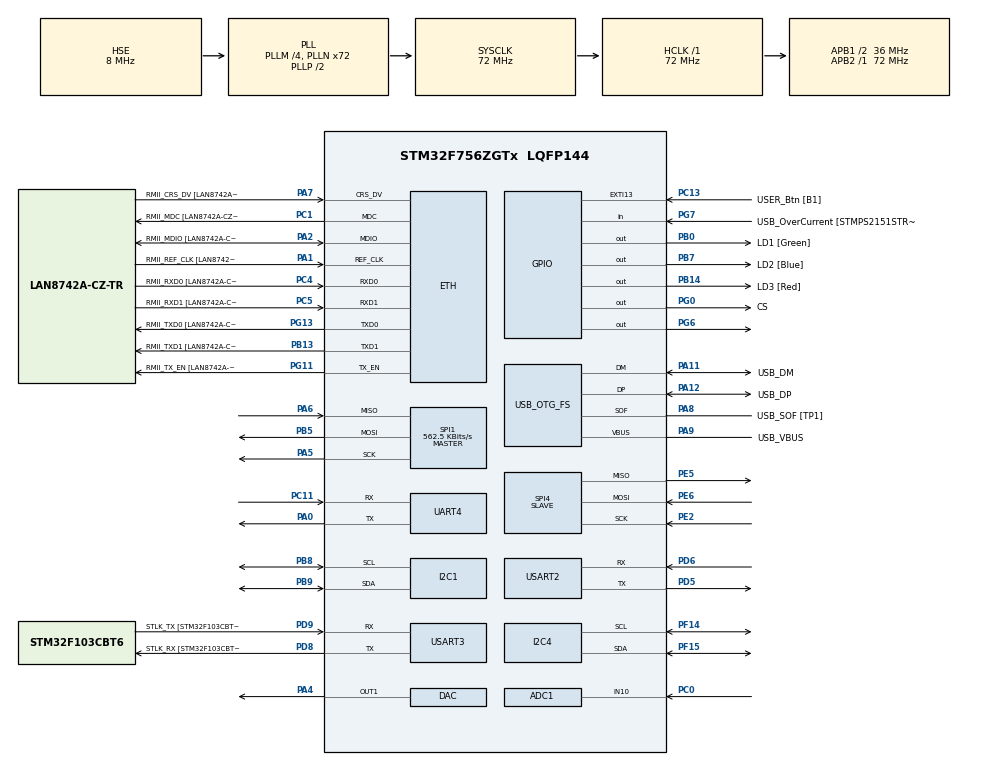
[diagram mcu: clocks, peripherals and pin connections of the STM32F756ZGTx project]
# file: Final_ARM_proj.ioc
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ADC1.Channel-0\#ChannelRegularConversion=ADC_CHANNEL_10
ADC1.NbrOfConversionFlag=1
ADC1.Rank-0\#ChannelRegularConversion=1
ADC1.Resolution=ADC_RESOLUTION_8B
ADC1.SamplingTime-0\#ChannelRegularConversion=ADC_SAMPLETIME_3CYCLES
ADC1.ScanConvMode=ADC_SCAN_ENABLE
ADC1.master=1
CORTEX_M7.CPU_DCache=Disabled
CORTEX_M7.CPU_ICache=Disabled
CORTEX_M7.MPU_Control=__NULL
CORTEX_M7.PREFETCH_ENABLE=0
Dma.I2C1_RX.1.Direction=DMA_PERIPH_TO_MEMORY
Dma.I2C1_RX.1.FIFOMode=DMA_FIFOMODE_DISABLE
Dma.I2C1_RX.1.Instance=DMA1_Stream0
Dma.I2C1_RX.1.MemDataAlignment=DMA_MDATAALIGN_BYTE
Dma.I2C1_RX.1.MemInc=DMA_MINC_ENABLE
Dma.I2C1_RX.1.Mode=DMA_NORMAL
Dma.I2C1_RX.1.PeriphDataAlignment=DMA_PDATAALIGN_BYTE
Dma.I2C1_RX.1.PeriphInc=DMA_PINC_DISABLE
Dma.I2C1_RX.1.Priority=DMA_PRIORITY_LOW
Dma.I2C4_TX.0.Direction=DMA_MEMORY_TO_PERIPH
Dma.I2C4_TX.0.FIFOMode=DMA_FIFOMODE_DISABLE
Dma.I2C4_TX.0.Instance=DMA1_Stream5
Dma.I2C4_TX.0.MemDataAlignment=DMA_MDATAALIGN_BYTE
Dma.I2C4_TX.0.MemInc=DMA_MINC_ENABLE
Dma.I2C4_TX.0.Mode=DMA_NORMAL
Dma.I2C4_TX.0.PeriphDataAlignment=DMA_PDATAALIGN_BYTE
Dma.I2C4_TX.0.PeriphInc=DMA_PINC_DISABLE
Dma.I2C4_TX.0.Priority=DMA_PRIORITY_LOW
Dma.Request0=I2C4_TX
Dma.Request1=I2C1_RX
Dma.Request2=UART4_RX
Dma.Request3=USART2_TX
Dma.Request4=SPI1_RX
Dma.Request5=SPI1_TX
Dma.Request6=SPI4_RX
Dma.Request7=SPI4_TX
Dma.SPI1_RX.4.Direction=DMA_PERIPH_TO_MEMORY
Dma.SPI1_RX.4.FIFOMode=DMA_FIFOMODE_DISABLE
Dma.SPI1_RX.4.Instance=DMA2_Stream2
Dma.SPI1_RX.4.MemDataAlignment=DMA_MDATAALIGN_BYTE
Dma.SPI1_RX.4.MemInc=DMA_MINC_ENABLE
Dma.SPI1_RX.4.Mode=DMA_NORMAL
Dma.SPI1_RX.4.PeriphDataAlignment=DMA_PDATAALIGN_BYTE
Dma.SPI1_RX.4.PeriphInc=DMA_PINC_DISABLE
Dma.SPI1_RX.4.Priority=DMA_PRIORITY_LOW
Dma.SPI1_TX.5.Direction=DMA_MEMORY_TO_PERIPH
Dma.SPI1_TX.5.FIFOMode=DMA_FIFOMODE_DISABLE
Dma.SPI1_TX.5.Instance=DMA2_Stream3
Dma.SPI1_TX.5.MemDataAlignment=DMA_MDATAALIGN_BYTE
Dma.SPI1_TX.5.MemInc=DMA_MINC_ENABLE
Dma.SPI1_TX.5.Mode=DMA_NORMAL
Dma.SPI1_TX.5.PeriphDataAlignment=DMA_PDATAALIGN_BYTE
Dma.SPI1_TX.5.PeriphInc=DMA_PINC_DISABLE
Dma.SPI1_TX.5.Priority=DMA_PRIORITY_LOW
Dma.SPI4_RX.6.Direction=DMA_PERIPH_TO_MEMORY
Dma.SPI4_RX.6.FIFOMode=DMA_FIFOMODE_DISABLE
Dma.SPI4_RX.6.Instance=DMA2_Stream0
Dma.SPI4_RX.6.MemDataAlignment=DMA_MDATAALIGN_BYTE
Dma.SPI4_RX.6.MemInc=DMA_MINC_ENABLE
Dma.SPI4_RX.6.Mode=DMA_NORMAL
Dma.SPI4_RX.6.PeriphDataAlignment=DMA_PDATAALIGN_BYTE
Dma.SPI4_RX.6.PeriphInc=DMA_PINC_DISABLE
Dma.SPI4_RX.6.Priority=DMA_PRIORITY_LOW
Dma.SPI4_TX.7.Direction=DMA_MEMORY_TO_PERIPH
Dma.SPI4_TX.7.FIFOMode=DMA_FIFOMODE_DISABLE
Dma.SPI4_TX.7.Instance=DMA2_Stream1
Dma.SPI4_TX.7.MemDataAlignment=DMA_MDATAALIGN_BYTE
Dma.SPI4_TX.7.MemInc=DMA_MINC_ENABLE
Dma.SPI4_TX.7.Mode=DMA_NORMAL
Dma.SPI4_TX.7.PeriphDataAlignment=DMA_PDATAALIGN_BYTE
Dma.SPI4_TX.7.PeriphInc=DMA_PINC_DISABLE
Dma.SPI4_TX.7.Priority=DMA_PRIORITY_LOW
Dma.UART4_RX.2.Direction=DMA_PERIPH_TO_MEMORY
Dma.UART4_RX.2.FIFOMode=DMA_FIFOMODE_DISABLE
Dma.UART4_RX.2.Instance=DMA1_Stream2
Dma.UART4_RX.2.MemDataAlignment=DMA_MDATAALIGN_BYTE
Dma.UART4_RX.2.MemInc=DMA_MINC_ENABLE
Dma.UART4_RX.2.Mode=DMA_NORMAL
Dma.UART4_RX.2.PeriphDataAlignment=DMA_PDATAALIGN_BYTE
Dma.UART4_RX.2.PeriphInc=DMA_PINC_DISABLE
Dma.UART4_RX.2.Priority=DMA_PRIORITY_LOW
Dma.USART2_TX.3.Direction=DMA_MEMORY_TO_PERIPH
Dma.USART2_TX.3.FIFOMode=DMA_FIFOMODE_DISABLE
Dma.USART2_TX.3.Instance=DMA1_Stream6
Dma.USART2_TX.3.MemDataAlignment=DMA_MDATAALIGN_BYTE
Dma.USART2_TX.3.MemInc=DMA_MINC_ENABLE
Dma.USART2_TX.3.Mode=DMA_NORMAL
Dma.USART2_TX.3.PeriphDataAlignment=DMA_PDATAALIGN_BYTE
Dma.USART2_TX.3.PeriphInc=DMA_PINC_DISABLE
Dma.USART2_TX.3.Priority=DMA_PRIORITY_LOW
ETH.MediaInterface=HAL_ETH_RMII_MODE
ETH.PHY_Name=LAN8742A_PHY_ADDRESS
ETH.PHY_Value=0
ETH.PhyAddress=0
FREERTOS.BinarySemaphores01=UartRx,Dynamic,NULL,Depleted;UartTx,Dynamic,NULL,Depleted;I2cRx,Dynamic,NULL,Depleted;I2cTx,Dynamic,NULL,Depleted;SpiRx,Dynamic,NULL,Depleted;AdcSem,Dynamic,NULL,Depleted;TimSem,Dynamic,NULL,Depleted;SpiTx,Dynamic,NULL,Depleted;SpiSlaveRx,Dynamic,NULL,Depleted
FREERTOS.Queues01=testsQ,16,4,1,Dynamic,NULL,NULL
FREERTOS.Tasks01=defaultTask,24,1024,lwip_initiation,Default,NULL,Dynamic,NULL,NULL;blink_task,8,1024,blinking_blue,Default,NULL,Dynamic,NULL,NULL;udp_task,8,1024,udp_function,Default,NULL,Dynamic,NULL,NULL;performing_task,40,2048,perform_tests,Default,NULL,Dynamic,NULL,NULL
FREERTOS.configMINIMAL_STACK_SIZE=256
FREERTOS.configTOTAL_HEAP_SIZE=102400
FREERTOS.configUSE_NEWLIB_REENTRANT=1
I2C1.GeneralCallMode=I2C_GENERALCALL_DISABLE
I2C1.OwnAddress=0x78
I2C1.Timing=0x00808CD2
I2C4.Timing=0x00808CD2
LWIP.BSP.number=1
LWIP.DHCP_DEBUG=LWIP_DBG_ON
LWIP.ETH_RX_BUFFER_CNT=24
LWIP.IP_ADDRESS=192.168.001.168
LWIP.LWIP_DHCP=0
LWIP.LWIP_IPV6=0
LWIP.MEM_SIZE=10*1024
LWIP.NETIF_DEBUG=LWIP_DBG_ON
LWIP.NETMASK_ADDRESS=255.255.255.000
LWIP.Version=v2.1.2_Cube
LWIP0.BSP.STBoard=false
LWIP0.BSP.api=BSP_COMPONENT_DRIVER
LWIP0.BSP.component=LAN8742
LWIP0.BSP.instance=LAN8742
LWIP0.BSP.name=Driver_PHY
LWIP0.BSP.semaphore=S_LAN8742
LWIP0.BSP.solution=LAN8742
Mcu.Family=STM32F7
Mcu.Name=STM32F756ZGTx
Mcu.Package=LQFP144
NVIC.ADC_IRQn=true\:5\:0\:false\:false\:true\:true\:true\:true\:true
NVIC.DMA1_Stream0_IRQn=true\:6\:0\:true\:false\:true\:true\:false\:true\:true
NVIC.DMA1_Stream2_IRQn=true\:6\:0\:true\:false\:true\:true\:false\:true\:true
NVIC.DMA1_Stream5_IRQn=true\:6\:0\:true\:false\:true\:true\:false\:true\:true
NVIC.DMA1_Stream6_IRQn=true\:6\:0\:true\:false\:true\:true\:false\:true\:true
NVIC.DMA2_Stream0_IRQn=true\:5\:0\:false\:false\:true\:true\:false\:true\:true
NVIC.DMA2_Stream1_IRQn=true\:5\:0\:false\:false\:true\:true\:false\:true\:true
NVIC.DMA2_Stream2_IRQn=true\:5\:0\:false\:false\:true\:false\:false\:true\:true
NVIC.DMA2_Stream3_IRQn=true\:5\:0\:false\:false\:true\:true\:false\:true\:true
NVIC.ETH_IRQn=true\:5\:0\:false\:false\:true\:true\:true\:true\:true
NVIC.ETH_WKUP_IRQn=true\:5\:0\:false\:false\:true\:true\:true\:true\:true
NVIC.EXTI15_10_IRQn=true\:5\:0\:false\:false\:true\:true\:true\:true\:true
NVIC.FPU_IRQn=true\:5\:0\:false\:false\:true\:true\:true\:false\:true
NVIC.I2C1_ER_IRQn=true\:5\:0\:false\:false\:true\:true\:true\:true\:true
NVIC.I2C1_EV_IRQn=true\:5\:0\:false\:false\:true\:true\:true\:true\:true
NVIC.I2C4_ER_IRQn=true\:5\:0\:false\:false\:true\:true\:true\:true\:true
NVIC.I2C4_EV_IRQn=true\:5\:0\:false\:false\:true\:true\:true\:true\:true
NVIC.PriorityGroup=NVIC_PRIORITYGROUP_4
NVIC.RCC_IRQn=true\:5\:0\:false\:false\:true\:true\:true\:false\:true
NVIC.SPI1_IRQn=true\:6\:0\:true\:false\:true\:true\:true\:true\:true
NVIC.SPI4_IRQn=true\:5\:0\:false\:false\:true\:true\:true\:true\:true
NVIC.TIM6_DAC_IRQn=true\:5\:0\:false\:false\:true\:false\:false\:true\:true
NVIC.TIM7_IRQn=true\:5\:0\:false\:false\:true\:true\:true\:true\:true
NVIC.TimeBase=TIM6_DAC_IRQn
NVIC.TimeBaseIP=TIM6
NVIC.UART4_IRQn=true\:6\:0\:true\:false\:true\:true\:true\:true\:true
NVIC.USART2_IRQn=true\:6\:0\:true\:false\:true\:true\:true\:true\:true
NVIC.USART3_IRQn=true\:5\:0\:false\:false\:true\:true\:true\:true\:true
PA0/WKUP.Mode=Asynchronous
PA0/WKUP.Signal=UART4_TX
PA1.GPIO_Label=RMII_REF_CLK [LAN8742A-CZ-TR_REFCLK0]
PA1.Mode=RMII
PA1.Signal=ETH_REF_CLK
PA10.GPIO_Label=USB_ID
PA10.Signal=USB_OTG_FS_ID
PA11.GPIO_Label=USB_DM
PA11.Mode=Device_Only
PA11.Signal=USB_OTG_FS_DM
PA12.GPIO_Label=USB_DP
PA12.Mode=Device_Only
PA12.Signal=USB_OTG_FS_DP
PA13.GPIO_Label=TMS
PA13.Mode=Serial_Wire
PA13.Signal=SYS_JTMS-SWDIO
PA14.GPIO_Label=TCK
PA14.Mode=Serial_Wire
PA14.Signal=SYS_JTCK-SWCLK
PA2.GPIO_Label=RMII_MDIO [LAN8742A-CZ-TR_MDIO]
PA2.Mode=RMII
PA2.Signal=ETH_MDIO
PA4.Signal=COMP_DAC1_group
PA5.Mode=Full_Duplex_Master
PA5.Signal=SPI1_SCK
PA6.Mode=Full_Duplex_Master
PA6.Signal=SPI1_MISO
PA7.GPIO_Label=RMII_CRS_DV [LAN8742A-CZ-TR_CRS_DV]
PA7.Mode=RMII
PA7.Signal=ETH_CRS_DV
PA8.GPIO_Label=USB_SOF [TP1]
PA8.Mode=Activate_SOF_FS
PA8.Signal=USB_OTG_FS_SOF
PA9.GPIO_Label=USB_VBUS
PA9.Mode=Activate_VBUS
PA9.Signal=USB_OTG_FS_VBUS
PB0.GPIO_Label=LD1 [Green]
PB0.Signal=GPIO_Output
PB13.GPIO_Label=RMII_TXD1 [LAN8742A-CZ-TR_TXD1]
PB13.Mode=RMII
PB13.Signal=ETH_TXD1
PB14.GPIO_Label=LD3 [Red]
PB14.Signal=GPIO_Output
PB3.GPIO_Label=SW0
PB3.Signal=SYS_JTDO-SWO
PB5.Mode=Full_Duplex_Master
PB5.Signal=SPI1_MOSI
PB7.GPIO_Label=LD2 [Blue]
PB7.Signal=GPIO_Output
PB8.GPIO_Mode=GPIO_MODE_AF_OD
PB8.GPIO_Pu=GPIO_PULLUP
PB8.Mode=I2C
PB8.Signal=I2C1_SCL
PB9.GPIO_Pu=GPIO_PULLUP
PB9.Mode=I2C
PB9.Signal=I2C1_SDA
PC0.Signal=ADCx_IN10
PC1.GPIO_Label=RMII_MDC [LAN8742A-CZ-TR_MDC]
PC1.Mode=RMII
PC1.Signal=ETH_MDC
PC11.Mode=Asynchronous
PC11.Signal=UART4_RX
PC13.GPIO_Label=USER_Btn [B1]
PC13.Signal=GPXTI13
PC14/OSC32_IN.Mode=LSE-External-Oscillator
PC14/OSC32_IN.Signal=RCC_OSC32_IN
PC15/OSC32_OUT.Mode=LSE-External-Oscillator
PC15/OSC32_OUT.Signal=RCC_OSC32_OUT
PC4.GPIO_Label=RMII_RXD0 [LAN8742A-CZ-TR_RXD0]
PC4.Mode=RMII
PC4.Signal=ETH_RXD0
PC5.GPIO_Label=RMII_RXD1 [LAN8742A-CZ-TR_RXD1]
PC5.Mode=RMII
PC5.Signal=ETH_RXD1
PD5.Mode=Asynchronous
PD5.Signal=USART2_TX
PD6.Mode=Asynchronous
PD6.Signal=USART2_RX
PD8.GPIO_Label=STLK_RX [STM32F103CBT6_PA3]
PD8.Mode=Asynchronous
PD8.Signal=USART3_TX
PD9.GPIO_Label=STLK_TX [STM32F103CBT6_PA2]
PD9.Mode=Asynchronous
PD9.Signal=USART3_RX
PE2.Mode=Full_Duplex_Slave
PE2.Signal=SPI4_SCK
PE5.Mode=Full_Duplex_Slave
PE5.Signal=SPI4_MISO
PE6.Mode=Full_Duplex_Slave
PE6.Signal=SPI4_MOSI
PF14.GPIO_Pu=GPIO_PULLUP
PF14.Mode=I2C
PF14.Signal=I2C4_SCL
PF15.GPIO_Pu=GPIO_PULLUP
PF15.Mode=I2C
PF15.Signal=I2C4_SDA
PG0.GPIO_Label=CS
PG0.PinState=GPIO_PIN_SET
PG0.Signal=GPIO_Output
PG11.GPIO_Label=RMII_TX_EN [LAN8742A-CZ-TR_TXEN]
PG11.Mode=RMII
PG11.Signal=ETH_TX_EN
PG13.GPIO_Label=RMII_TXD0 [LAN8742A-CZ-TR_TXD0]
PG13.Mode=RMII
PG13.Signal=ETH_TXD0
PG6.Signal=GPIO_Output
PG7.GPIO_Label=USB_OverCurrent [STMPS2151STR_FAULT]
PG7.Signal=GPIO_Input
PH0/OSC_IN.GPIO_Label=MCO [STM32F103CBT6_PA8]
PH0/OSC_IN.Mode=HSE-External-Clock-Source
PH0/OSC_IN.Signal=RCC_OSC_IN
PH1/OSC_OUT.Mode=HSE-External-Clock-Source
PH1/OSC_OUT.Signal=RCC_OSC_OUT
ProjectManager.HeapSize=0x200
ProjectManager.StackSize=0x400
ProjectManager.TargetToolchain=STM32CubeIDE
RCC.48MHZClocksFreq_Value=24000000
RCC.AHBFreq_Value=72000000
RCC.APB1CLKDivider=RCC_HCLK_DIV2
RCC.APB1Freq_Value=36000000
RCC.APB1TimFreq_Value=72000000
RCC.APB2Freq_Value=72000000
RCC.APB2TimFreq_Value=72000000
RCC.CortexFreq_Value=72000000
RCC.HCLKFreq_Value=72000000
RCC.HSE_VALUE=8000000
RCC.HSI_VALUE=16000000
RCC.PLLM=4
RCC.PLLMUL=RCC_PLL_MUL9
RCC.PLLN=72
RCC.PLLQ=3
RCC.PRESCALERUSB=RCC_USBCLKSOURCE_PLL_DIV1_5
RCC.SYSCLKFreq_VALUE=72000000
RCC.SYSCLKSource=RCC_SYSCLKSOURCE_PLLCLK
RCC.SYSCLKSourceVirtual=RCC_SYSCLKSOURCE_PLLCLK
RCC.UART4CLockSelection=RCC_UART4CLKSOURCE_SYSCLK
RCC.USART2CLockSelection=RCC_USART2CLKSOURCE_SYSCLK
RCC.USBFreq_Value=48000000
RCC.VCOOutputFreq_Value=144000000
SH.ADCx_IN10.0=ADC1_IN10,IN10
SH.COMP_DAC1_group.0=DAC_OUT1,DAC_OUT1
SPI1.BaudRatePrescaler=SPI_BAUDRATEPRESCALER_128
SPI1.CLKPhase=SPI_PHASE_1EDGE
SPI1.CLKPolarity=SPI_POLARITY_LOW
SPI1.CRCCalculation=SPI_CRCCALCULATION_ENABLE
SPI1.CalculateBaudRate=562.5 KBits/s
SPI1.DataSize=SPI_DATASIZE_8BIT
SPI1.Direction=SPI_DIRECTION_2LINES
SPI1.Mode=SPI_MODE_MASTER
SPI1.VirtualType=VM_MASTER
SPI4.Direction=SPI_DIRECTION_2LINES
SPI4.Mode=SPI_MODE_SLAVE
SPI4.VirtualType=VM_SLAVE
TIM7.Period=100 - 1
TIM7.Prescaler=48000 - 1
USART2.VirtualMode-Asynchronous=VM_ASYNC
USART3.VirtualMode-Asynchronous=VM_ASYNC
USB_OTG_FS.VirtualMode=Device_Only
VP_CRC_VS_CRC.Mode=CRC_Activate
VP_FREERTOS_VS_CMSIS_V2.Mode=CMSIS_V2
VP_LWIP_VS_Enabled.Mode=Enabled
VP_SYS_VS_tim6.Mode=TIM6
VP_TIM7_VS_ClockSourceINT.Mode=Enable_Timer
board=NUCLEO-F756ZG

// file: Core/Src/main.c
/* USER CODE BEGIN Header */
/**
  ******************************************************************************
  * @file           : main.c
  * @brief          : Main program body
  ******************************************************************************
  * @attention
  *
  * Copyright (c) 2025 STMicroelectronics.
  * All rights reserved.
  *
  * This software is licensed under terms that can be found in the LICENSE file
  * in the root directory of this software component.
  * If no LICENSE file comes with this software, it is provided AS-IS.
  *
  *
  ******************************************************************************
  */
/* USER CODE END Header */
#include "main.h"
#include "cmsis_os.h"
#include "lwip.h"

/* USER CODE BEGIN Includes */
#include <stdarg.h>

#include "lwip/udp.h"

#include "FreeRTOS.h"
#include "semphr.h" // For semaphore-specific functions and types like SemaphoreHandle_t

#include "project_header.h"
#include "uarts.h"
#include "i2cs.h"
#include "spis.h"
#include "adcs.h"
#include "timer_test.h"

/* USER CODE END Includes */

/* USER CODE BEGIN PD */
extern struct netif gnetif;

/* USER CODE END PD */

/* USER CODE BEGIN PM */
#define LOCAL_PORT   5005

/* USER CODE END PM */

ADC_HandleTypeDef hadc1;

CRC_HandleTypeDef hcrc;

DAC_HandleTypeDef hdac;

I2C_HandleTypeDef hi2c1;
I2C_HandleTypeDef hi2c4;
DMA_HandleTypeDef hdma_i2c1_rx;
DMA_HandleTypeDef hdma_i2c4_tx;

SPI_HandleTypeDef hspi1;
SPI_HandleTypeDef hspi4;
DMA_HandleTypeDef hdma_spi1_rx;
DMA_HandleTypeDef hdma_spi1_tx;
DMA_HandleTypeDef hdma_spi4_rx;
DMA_HandleTypeDef hdma_spi4_tx;

TIM_HandleTypeDef htim7;

UART_HandleTypeDef huart4;
UART_HandleTypeDef huart2;
UART_HandleTypeDef huart3;
DMA_HandleTypeDef hdma_uart4_rx;
DMA_HandleTypeDef hdma_usart2_tx;

PCD_HandleTypeDef hpcd_USB_OTG_FS;

/* Definitions for defaultTask */
osThreadId_t defaultTaskHandle;
const osThreadAttr_t defaultTask_attributes = {
  .name = "defaultTask",
  .stack_size = 1024 * 4,
  .priority = (osPriority_t) osPriorityNormal,
};
/* Definitions for blink_task */
osThreadId_t blink_taskHandle;
const osThreadAttr_t blink_task_attributes = {
  .name = "blink_task",
  .stack_size = 1024 * 4,
  .priority = (osPriority_t) osPriorityLow,
};
/* Definitions for udp_task */
osThreadId_t udp_taskHandle;
const osThreadAttr_t udp_task_attributes = {
  .name = "udp_task",
  .stack_size = 1024 * 4,
  .priority = (osPriority_t) osPriorityLow,
};
/* Definitions for performing_task */
osThreadId_t performing_taskHandle;
const osThreadAttr_t performing_task_attributes = {
  .name = "performing_task",
  .stack_size = 2048 * 4,
  .priority = (osPriority_t) osPriorityHigh,
};
/* Definitions for testsQ */
osMessageQueueId_t testsQHandle;
const osMessageQueueAttr_t testsQ_attributes = {
  .name = "testsQ"
};
/* Definitions for UartRx */
osSemaphoreId_t UartRxHandle;
const osSemaphoreAttr_t UartRx_attributes = {
  .name = "UartRx"
};
/* Definitions for UartTx */
osSemaphoreId_t UartTxHandle;
const osSemaphoreAttr_t UartTx_attributes = {
  .name = "UartTx"
};
/* Definitions for I2cRx */
osSemaphoreId_t I2cRxHandle;
const osSemaphoreAttr_t I2cRx_attributes = {
  .name = "I2cRx"
};
/* Definitions for I2cTx */
osSemaphoreId_t I2cTxHandle;
const osSemaphoreAttr_t I2cTx_attributes = {
  .name = "I2cTx"
};
/* Definitions for SpiRx */
osSemaphoreId_t SpiRxHandle;
const osSemaphoreAttr_t SpiRx_attributes = {
  .name = "SpiRx"
};
/* Definitions for AdcSem */
osSemaphoreId_t AdcSemHandle;
const osSemaphoreAttr_t AdcSem_attributes = {
  .name = "AdcSem"
};
/* Definitions for TimSem */
osSemaphoreId_t TimSemHandle;
const osSemaphoreAttr_t TimSem_attributes = {
  .name = "TimSem"
};
/* Definitions for SpiTx */
osSemaphoreId_t SpiTxHandle;
const osSemaphoreAttr_t SpiTx_attributes = {
  .name = "SpiTx"
};
/* Definitions for SpiSlaveRx */
osSemaphoreId_t SpiSlaveRxHandle;
const osSemaphoreAttr_t SpiSlaveRx_attributes = {
  .name = "SpiSlaveRx"
};

void SystemClock_Config(void);
static void MX_GPIO_Init(void);
static void MX_DMA_Init(void);
static void MX_I2C1_Init(void);
static void MX_USART3_UART_Init(void);
static void MX_USB_OTG_FS_PCD_Init(void);
static void MX_USART2_UART_Init(void);
static void MX_CRC_Init(void);
static void MX_I2C4_Init(void);
static void MX_SPI1_Init(void);
static void MX_ADC1_Init(void);
static void MX_TIM7_Init(void);
static void MX_UART4_Init(void);
static void MX_DAC_Init(void);
static void MX_SPI4_Init(void);
void lwip_initiation(void *argument);
void blinking_blue(void *argument);
void udp_function(void *argument);
void perform_tests(void *argument);

/* USER CODE BEGIN PFP */

static struct udp_pcb *udp_pcb_handle;
void udp_receive_init(void);
void udp_receive_callback(void *arg, struct udp_pcb *pcb,
                          struct pbuf *p, const ip_addr_t *addr, u16_t port);
int send_response(result_pro_t result);
uint32_t calculate_crc(uint8_t *data, size_t length);

/* USER CODE END PFP */

/* USER CODE BEGIN 0 */

ip_addr_t g_server_addr;
u16_t g_server_port;

/* USER CODE END 0 */

int main(void)
{

  /* MCU Configuration--------------------------------------------------------*/

  /* Reset of all peripherals, Initializes the Flash interface and the Systick. */
  HAL_Init();

  /* Configure the system clock */
  SystemClock_Config();

  /* Initialize all configured peripherals */
  MX_GPIO_Init();
  MX_DMA_Init();
  MX_I2C1_Init();
  MX_USART3_UART_Init();
  MX_USB_OTG_FS_PCD_Init();
  MX_USART2_UART_Init();
  MX_CRC_Init();
  MX_I2C4_Init();
  MX_SPI1_Init();
  MX_ADC1_Init();
  MX_TIM7_Init();
  MX_UART4_Init();
  MX_DAC_Init();
  MX_SPI4_Init();

  /* Init scheduler */
  osKernelInitialize();

  /* Create the semaphores(s) */
  /* creation of UartRx */
  UartRxHandle = osSemaphoreNew(1, 0, &UartRx_attributes);

  /* creation of UartTx */
  UartTxHandle = osSemaphoreNew(1, 0, &UartTx_attributes);

  /* creation of I2cRx */
  I2cRxHandle = osSemaphoreNew(1, 0, &I2cRx_attributes);

  /* creation of I2cTx */
  I2cTxHandle = osSemaphoreNew(1, 0, &I2cTx_attributes);

  /* creation of SpiRx */
  SpiRxHandle = osSemaphoreNew(1, 0, &SpiRx_attributes);

  /* creation of AdcSem */
  AdcSemHandle = osSemaphoreNew(1, 0, &AdcSem_attributes);

  /* creation of TimSem */
  TimSemHandle = osSemaphoreNew(1, 0, &TimSem_attributes);

  /* creation of SpiTx */
  SpiTxHandle = osSemaphoreNew(1, 0, &SpiTx_attributes);

  /* creation of SpiSlaveRx */
  SpiSlaveRxHandle = osSemaphoreNew(1, 0, &SpiSlaveRx_attributes);

  /* Create the queue(s) */
  /* creation of testsQ */
  testsQHandle = osMessageQueueNew (16, 4, &testsQ_attributes);

  /* Create the thread(s) */
  /* creation of defaultTask */
  defaultTaskHandle = osThreadNew(lwip_initiation, NULL, &defaultTask_attributes);

  /* creation of blink_task */
  blink_taskHandle = osThreadNew(blinking_blue, NULL, &blink_task_attributes);

  /* creation of udp_task */
  udp_taskHandle = osThreadNew(udp_function, NULL, &udp_task_attributes);

  /* creation of performing_task */
  performing_taskHandle = osThreadNew(perform_tests, NULL, &performing_task_attributes);

  /* Start scheduler */
  osKernelStart();

  /* We should never get here as control is now taken by the scheduler */

  /* Infinite loop */
  while (1)
  {

  }
}

void SystemClock_Config(void)
{
  RCC_OscInitTypeDef RCC_OscInitStruct = {0};
  RCC_ClkInitTypeDef RCC_ClkInitStruct = {0};

  /** Configure LSE Drive Capability
  */
  HAL_PWR_EnableBkUpAccess();

  /** Configure the main internal regulator output voltage
  */
  __HAL_RCC_PWR_CLK_ENABLE();
  __HAL_PWR_VOLTAGESCALING_CONFIG(PWR_REGULATOR_VOLTAGE_SCALE3);

  /** Initializes the RCC Oscillators according to the specified parameters
  * in the RCC_OscInitTypeDef structure.
  */
  RCC_OscInitStruct.OscillatorType = RCC_OSCILLATORTYPE_HSE;
  RCC_OscInitStruct.HSEState = RCC_HSE_BYPASS;
  RCC_OscInitStruct.PLL.PLLState = RCC_PLL_ON;
  RCC_OscInitStruct.PLL.PLLSource = RCC_PLLSOURCE_HSE;
  RCC_OscInitStruct.PLL.PLLM = 4;
  RCC_OscInitStruct.PLL.PLLN = 72;
  RCC_OscInitStruct.PLL.PLLP = RCC_PLLP_DIV2;
  RCC_OscInitStruct.PLL.PLLQ = 3;
  if (HAL_RCC_OscConfig(&RCC_OscInitStruct) != HAL_OK)
  {
    Error_Handler();
  }

  /** Initializes the CPU, AHB and APB buses clocks
  */
  RCC_ClkInitStruct.ClockType = RCC_CLOCKTYPE_HCLK|RCC_CLOCKTYPE_SYSCLK
                              |RCC_CLOCKTYPE_PCLK1|RCC_CLOCKTYPE_PCLK2;
  RCC_ClkInitStruct.SYSCLKSource = RCC_SYSCLKSOURCE_PLLCLK;
  RCC_ClkInitStruct.AHBCLKDivider = RCC_SYSCLK_DIV1;
  RCC_ClkInitStruct.APB1CLKDivider = RCC_HCLK_DIV2;
  RCC_ClkInitStruct.APB2CLKDivider = RCC_HCLK_DIV1;

  if (HAL_RCC_ClockConfig(&RCC_ClkInitStruct, FLASH_LATENCY_2) != HAL_OK)
  {
    Error_Handler();
  }
}

static void MX_ADC1_Init(void)
{

  ADC_ChannelConfTypeDef sConfig = {0};

  /** Configure the global features of the ADC (Clock, Resolution, Data Alignment and number of conversion)
  */
  hadc1.Instance = ADC1;
  hadc1.Init.ClockPrescaler = ADC_CLOCK_SYNC_PCLK_DIV2;
  hadc1.Init.Resolution = ADC_RESOLUTION_8B;
  hadc1.Init.ScanConvMode = ADC_SCAN_ENABLE;
  hadc1.Init.ContinuousConvMode = DISABLE;
  hadc1.Init.DiscontinuousConvMode = DISABLE;
  hadc1.Init.ExternalTrigConvEdge = ADC_EXTERNALTRIGCONVEDGE_NONE;
  hadc1.Init.ExternalTrigConv = ADC_SOFTWARE_START;
  hadc1.Init.DataAlign = ADC_DATAALIGN_RIGHT;
  hadc1.Init.NbrOfConversion = 1;
  hadc1.Init.DMAContinuousRequests = DISABLE;
  hadc1.Init.EOCSelection = ADC_EOC_SINGLE_CONV;
  if (HAL_ADC_Init(&hadc1) != HAL_OK)
  {
    Error_Handler();
  }

  /** Configure for the selected ADC regular channel its corresponding rank in the sequencer and its sample time.
  */
  sConfig.Channel = ADC_CHANNEL_10;
  sConfig.Rank = ADC_REGULAR_RANK_1;
  sConfig.SamplingTime = ADC_SAMPLETIME_3CYCLES;
  if (HAL_ADC_ConfigChannel(&hadc1, &sConfig) != HAL_OK)
  {
    Error_Handler();
  }

}

static void MX_CRC_Init(void)
{

  hcrc.Instance = CRC;
  hcrc.Init.DefaultPolynomialUse = DEFAULT_POLYNOMIAL_ENABLE;
  hcrc.Init.DefaultInitValueUse = DEFAULT_INIT_VALUE_ENABLE;
  hcrc.Init.InputDataInversionMode = CRC_INPUTDATA_INVERSION_NONE;
  hcrc.Init.OutputDataInversionMode = CRC_OUTPUTDATA_INVERSION_DISABLE;
  hcrc.InputDataFormat = CRC_INPUTDATA_FORMAT_BYTES;
  if (HAL_CRC_Init(&hcrc) != HAL_OK)
  {
    Error_Handler();
  }

}

static void MX_DAC_Init(void)
{

  DAC_ChannelConfTypeDef sConfig = {0};

  /** DAC Initialization
  */
  hdac.Instance = DAC;
  if (HAL_DAC_Init(&hdac) != HAL_OK)
  {
    Error_Handler();
  }

  /** DAC channel OUT1 config
  */
  sConfig.DAC_Trigger = DAC_TRIGGER_NONE;
  sConfig.DAC_OutputBuffer = DAC_OUTPUTBUFFER_ENABLE;
  if (HAL_DAC_ConfigChannel(&hdac, &sConfig, DAC_CHANNEL_1) != HAL_OK)
  {
    Error_Handler();
  }

}

static void MX_I2C1_Init(void)
{

  hi2c1.Instance = I2C1;
  hi2c1.Init.Timing = 0x00808CD2;
  hi2c1.Init.OwnAddress1 = 240;
  hi2c1.Init.AddressingMode = I2C_ADDRESSINGMODE_7BIT;
  hi2c1.Init.DualAddressMode = I2C_DUALADDRESS_DISABLE;
  hi2c1.Init.OwnAddress2 = 0;
  hi2c1.Init.OwnAddress2Masks = I2C_OA2_NOMASK;
  hi2c1.Init.GeneralCallMode = I2C_GENERALCALL_DISABLE;
  hi2c1.Init.NoStretchMode = I2C_NOSTRETCH_DISABLE;
  if (HAL_I2C_Init(&hi2c1) != HAL_OK)
  {
    Error_Handler();
  }

  /** Configure Analogue filter
  */
  if (HAL_I2CEx_ConfigAnalogFilter(&hi2c1, I2C_ANALOGFILTER_ENABLE) != HAL_OK)
  {
    Error_Handler();
  }

  /** Configure Digital filter
  */
  if (HAL_I2CEx_ConfigDigitalFilter(&hi2c1, 0) != HAL_OK)
  {
    Error_Handler();
  }

}

static void MX_I2C4_Init(void)
{

  hi2c4.Instance = I2C4;
  hi2c4.Init.Timing = 0x00808CD2;
  hi2c4.Init.OwnAddress1 = 0;
  hi2c4.Init.AddressingMode = I2C_ADDRESSINGMODE_7BIT;
  hi2c4.Init.DualAddressMode = I2C_DUALADDRESS_DISABLE;
  hi2c4.Init.OwnAddress2 = 0;
  hi2c4.Init.OwnAddress2Masks = I2C_OA2_NOMASK;
  hi2c4.Init.GeneralCallMode = I2C_GENERALCALL_DISABLE;
  hi2c4.Init.NoStretchMode = I2C_NOSTRETCH_DISABLE;
  if (HAL_I2C_Init(&hi2c4) != HAL_OK)
  {
    Error_Handler();
  }

  /** Configure Analogue filter
  */
  if (HAL_I2CEx_ConfigAnalogFilter(&hi2c4, I2C_ANALOGFILTER_ENABLE) != HAL_OK)
  {
    Error_Handler();
  }

  /** Configure Digital filter
  */
  if (HAL_I2CEx_ConfigDigitalFilter(&hi2c4, 0) != HAL_OK)
  {
    Error_Handler();
  }

}

static void MX_SPI1_Init(void)
{

  /* SPI1 parameter configuration*/
  hspi1.Instance = SPI1;
  hspi1.Init.Mode = SPI_MODE_MASTER;
  hspi1.Init.Direction = SPI_DIRECTION_2LINES;
  hspi1.Init.DataSize = SPI_DATASIZE_8BIT;
  hspi1.Init.CLKPolarity = SPI_POLARITY_LOW;
  hspi1.Init.CLKPhase = SPI_PHASE_1EDGE;
  hspi1.Init.NSS = SPI_NSS_SOFT;
  hspi1.Init.BaudRatePrescaler = SPI_BAUDRATEPRESCALER_128;
  hspi1.Init.FirstBit = SPI_FIRSTBIT_MSB;
  hspi1.Init.TIMode = SPI_TIMODE_DISABLE;
  hspi1.Init.CRCCalculation = SPI_CRCCALCULATION_ENABLE;
  hspi1.Init.CRCPolynomial = 7;
  hspi1.Init.CRCLength = SPI_CRC_LENGTH_DATASIZE;
  hspi1.Init.NSSPMode = SPI_NSS_PULSE_ENABLE;
  if (HAL_SPI_Init(&hspi1) != HAL_OK)
  {
    Error_Handler();
  }

}

static void MX_SPI4_Init(void)
{

  /* SPI4 parameter configuration*/
  hspi4.Instance = SPI4;
  hspi4.Init.Mode = SPI_MODE_SLAVE;
  hspi4.Init.Direction = SPI_DIRECTION_2LINES;
  hspi4.Init.DataSize = SPI_DATASIZE_4BIT;
  hspi4.Init.CLKPolarity = SPI_POLARITY_LOW;
  hspi4.Init.CLKPhase = SPI_PHASE_1EDGE;
  hspi4.Init.NSS = SPI_NSS_SOFT;
  hspi4.Init.FirstBit = SPI_FIRSTBIT_MSB;
  hspi4.Init.TIMode = SPI_TIMODE_DISABLE;
  hspi4.Init.CRCCalculation = SPI_CRCCALCULATION_DISABLE;
  hspi4.Init.CRCPolynomial = 7;
  hspi4.Init.CRCLength = SPI_CRC_LENGTH_DATASIZE;
  hspi4.Init.NSSPMode = SPI_NSS_PULSE_DISABLE;
  if (HAL_SPI_Init(&hspi4) != HAL_OK)
  {
    Error_Handler();
  }

}

static void MX_TIM7_Init(void)
{

  TIM_MasterConfigTypeDef sMasterConfig = {0};

  htim7.Instance = TIM7;
  htim7.Init.Prescaler = 48000 - 1;
  htim7.Init.CounterMode = TIM_COUNTERMODE_UP;
  htim7.Init.Period = 100 - 1;
  htim7.Init.AutoReloadPreload = TIM_AUTORELOAD_PRELOAD_DISABLE;
  if (HAL_TIM_Base_Init(&htim7) != HAL_OK)
  {
    Error_Handler();
  }
  sMasterConfig.MasterOutputTrigger = TIM_TRGO_RESET;
  sMasterConfig.MasterSlaveMode = TIM_MASTERSLAVEMODE_DISABLE;
  if (HAL_TIMEx_MasterConfigSynchronization(&htim7, &sMasterConfig) != HAL_OK)
  {
    Error_Handler();
  }

}

static void MX_UART4_Init(void)
{

  huart4.Instance = UART4;
  huart4.Init.BaudRate = 115200;
  huart4.Init.WordLength = UART_WORDLENGTH_8B;
  huart4.Init.StopBits = UART_STOPBITS_1;
  huart4.Init.Parity = UART_PARITY_NONE;
  huart4.Init.Mode = UART_MODE_TX_RX;
  huart4.Init.HwFlowCtl = UART_HWCONTROL_NONE;
  huart4.Init.OverSampling = UART_OVERSAMPLING_16;
  huart4.Init.OneBitSampling = UART_ONE_BIT_SAMPLE_DISABLE;
  huart4.AdvancedInit.AdvFeatureInit = UART_ADVFEATURE_NO_INIT;
  if (HAL_UART_Init(&huart4) != HAL_OK)
  {
    Error_Handler();
  }

}

static void MX_USART2_UART_Init(void)
{

  huart2.Instance = USART2;
  huart2.Init.BaudRate = 115200;
  huart2.Init.WordLength = UART_WORDLENGTH_8B;
  huart2.Init.StopBits = UART_STOPBITS_1;
  huart2.Init.Parity = UART_PARITY_NONE;
  huart2.Init.Mode = UART_MODE_TX_RX;
  huart2.Init.HwFlowCtl = UART_HWCONTROL_NONE;
  huart2.Init.OverSampling = UART_OVERSAMPLING_16;
  huart2.Init.OneBitSampling = UART_ONE_BIT_SAMPLE_DISABLE;
  huart2.AdvancedInit.AdvFeatureInit = UART_ADVFEATURE_NO_INIT;
  if (HAL_UART_Init(&huart2) != HAL_OK)
  {
    Error_Handler();
  }

}

static void MX_USART3_UART_Init(void)
{

  huart3.Instance = USART3;
  huart3.Init.BaudRate = 115200;
  huart3.Init.WordLength = UART_WORDLENGTH_8B;
  huart3.Init.StopBits = UART_STOPBITS_1;
  huart3.Init.Parity = UART_PARITY_NONE;
  huart3.Init.Mode = UART_MODE_TX_RX;
  huart3.Init.HwFlowCtl = UART_HWCONTROL_NONE;
  huart3.Init.OverSampling = UART_OVERSAMPLING_16;
  huart3.Init.OneBitSampling = UART_ONE_BIT_SAMPLE_DISABLE;
  huart3.AdvancedInit.AdvFeatureInit = UART_ADVFEATURE_NO_INIT;
  if (HAL_UART_Init(&huart3) != HAL_OK)
  {
    Error_Handler();
  }

}

static void MX_USB_OTG_FS_PCD_Init(void)
{

  hpcd_USB_OTG_FS.Instance = USB_OTG_FS;
  hpcd_USB_OTG_FS.Init.dev_endpoints = 6;
  hpcd_USB_OTG_FS.Init.speed = PCD_SPEED_FULL;
  hpcd_USB_OTG_FS.Init.dma_enable = DISABLE;
  hpcd_USB_OTG_FS.Init.phy_itface = PCD_PHY_EMBEDDED;
  hpcd_USB_OTG_FS.Init.Sof_enable = ENABLE;
  hpcd_USB_OTG_FS.Init.low_power_enable = DISABLE;
  hpcd_USB_OTG_FS.Init.lpm_enable = DISABLE;
  hpcd_USB_OTG_FS.Init.vbus_sensing_enable = ENABLE;
  hpcd_USB_OTG_FS.Init.use_dedicated_ep1 = DISABLE;
  if (HAL_PCD_Init(&hpcd_USB_OTG_FS) != HAL_OK)
  {
    Error_Handler();
  }

}

static void MX_DMA_Init(void)
{

  /* DMA controller clock enable */
  __HAL_RCC_DMA1_CLK_ENABLE();
  __HAL_RCC_DMA2_CLK_ENABLE();

  /* DMA interrupt init */
  /* DMA1_Stream0_IRQn interrupt configuration */
  HAL_NVIC_SetPriority(DMA1_Stream0_IRQn, 6, 0);
  HAL_NVIC_EnableIRQ(DMA1_Stream0_IRQn);
  /* DMA1_Stream2_IRQn interrupt configuration */
  HAL_NVIC_SetPriority(DMA1_Stream2_IRQn, 6, 0);
  HAL_NVIC_EnableIRQ(DMA1_Stream2_IRQn);
  /* DMA1_Stream5_IRQn interrupt configuration */
  HAL_NVIC_SetPriority(DMA1_Stream5_IRQn, 6, 0);
  HAL_NVIC_EnableIRQ(DMA1_Stream5_IRQn);
  /* DMA1_Stream6_IRQn interrupt configuration */
  HAL_NVIC_SetPriority(DMA1_Stream6_IRQn, 6, 0);
  HAL_NVIC_EnableIRQ(DMA1_Stream6_IRQn);
  /* DMA2_Stream0_IRQn interrupt configuration */
  HAL_NVIC_SetPriority(DMA2_Stream0_IRQn, 5, 0);
  HAL_NVIC_EnableIRQ(DMA2_Stream0_IRQn);
  /* DMA2_Stream1_IRQn interrupt configuration */
  HAL_NVIC_SetPriority(DMA2_Stream1_IRQn, 5, 0);
  HAL_NVIC_EnableIRQ(DMA2_Stream1_IRQn);
  /* DMA2_Stream2_IRQn interrupt configuration */
  HAL_NVIC_SetPriority(DMA2_Stream2_IRQn, 5, 0);
  HAL_NVIC_EnableIRQ(DMA2_Stream2_IRQn);
  /* DMA2_Stream3_IRQn interrupt configuration */
  HAL_NVIC_SetPriority(DMA2_Stream3_IRQn, 5, 0);
  HAL_NVIC_EnableIRQ(DMA2_Stream3_IRQn);

}

static void MX_GPIO_Init(void)
{
  GPIO_InitTypeDef GPIO_InitStruct = {0};

  /* GPIO Ports Clock Enable */
  __HAL_RCC_GPIOE_CLK_ENABLE();
  __HAL_RCC_GPIOC_CLK_ENABLE();
  __HAL_RCC_GPIOH_CLK_ENABLE();
  __HAL_RCC_GPIOA_CLK_ENABLE();
  __HAL_RCC_GPIOB_CLK_ENABLE();
  __HAL_RCC_GPIOF_CLK_ENABLE();
  __HAL_RCC_GPIOG_CLK_ENABLE();
  __HAL_RCC_GPIOD_CLK_ENABLE();

  /*Configure GPIO pin Output Level */
  HAL_GPIO_WritePin(GPIOB, LD1_Pin|LD3_Pin|LD2_Pin, GPIO_PIN_RESET);

  /*Configure GPIO pin Output Level */
  HAL_GPIO_WritePin(CS_GPIO_Port, CS_Pin, GPIO_PIN_SET);

  /*Configure GPIO pin Output Level */
  HAL_GPIO_WritePin(GPIOG, GPIO_PIN_6, GPIO_PIN_RESET);

  /*Configure GPIO pin : USER_Btn_Pin */
  GPIO_InitStruct.Pin = USER_Btn_Pin;
  GPIO_InitStruct.Mode = GPIO_MODE_IT_RISING;
  GPIO_InitStruct.Pull = GPIO_NOPULL;
  HAL_GPIO_Init(USER_Btn_GPIO_Port, &GPIO_InitStruct);

  /*Configure GPIO pins : LD1_Pin LD3_Pin LD2_Pin */
  GPIO_InitStruct.Pin = LD1_Pin|LD3_Pin|LD2_Pin;
  GPIO_InitStruct.Mode = GPIO_MODE_OUTPUT_PP;
  GPIO_InitStruct.Pull = GPIO_NOPULL;
  GPIO_InitStruct.Speed = GPIO_SPEED_FREQ_LOW;
  HAL_GPIO_Init(GPIOB, &GPIO_InitStruct);

  /*Configure GPIO pins : CS_Pin PG6 */
  GPIO_InitStruct.Pin = CS_Pin|GPIO_PIN_6;
  GPIO_InitStruct.Mode = GPIO_MODE_OUTPUT_PP;
  GPIO_InitStruct.Pull = GPIO_NOPULL;
  GPIO_InitStruct.Speed = GPIO_SPEED_FREQ_LOW;
  HAL_GPIO_Init(GPIOG, &GPIO_InitStruct);

  /*Configure GPIO pin : USB_OverCurrent_Pin */
  GPIO_InitStruct.Pin = USB_OverCurrent_Pin;
  GPIO_InitStruct.Mode = GPIO_MODE_INPUT;
  GPIO_InitStruct.Pull = GPIO_NOPULL;
  HAL_GPIO_Init(USB_OverCurrent_GPIO_Port, &GPIO_InitStruct);

  /* EXTI interrupt init*/
  HAL_NVIC_SetPriority(EXTI15_10_IRQn, 5, 0);
  HAL_NVIC_EnableIRQ(EXTI15_10_IRQn);

}

/* USER CODE BEGIN 4 */

/**
 * // configCHECK_FOR_STACK_OVERFLOW is set to  2 in FreeRTOSConfig.h
 *
 * @brief Hook function for FreeRTOS stack overflow detection.
 * This function is called by the FreeRTOS kernel if a stack overflow is detected.
 * It's crucial to put the system into a safe state here, as the stack is corrupted.
 *
 * @param xTask Task handle of the task whose stack overflowed.
 * @param pcTaskName Pointer to the name of the task whose stack overflowed.
 */
void vApplicationStackOverflowHook(TaskHandle_t xTask, signed char *pcTaskName)
{
    // A stack overflow has been detected. This is a critical error.
    // The system is in an unstable state.

    printf("\n\r!!! STACK OVERFLOW DETECTED !!!\n\r");
    printf("Task: %s\n\r", pcTaskName);
    printf("Handle: 0x%lX\n\r", (uint32_t)xTask);

    // Disable interrupts to prevent further execution and potential damage
    taskDISABLE_INTERRUPTS();
    for(;;)
    {
        // RED LED toggle for visual indication
    	HAL_GPIO_TogglePin(GPIOB, GPIO_PIN_14);
        osDelay(1000);
    }
}

void udp_receive_init(void)
{
    udp_pcb_handle = udp_new();
    if (!udp_pcb_handle) {
        printf("Failed to create UDP PCB\n\r");
        return;
    }

    if (udp_bind(udp_pcb_handle, IP_ADDR_ANY, LOCAL_PORT) != ERR_OK) {
        printf("UDP bind failed\n\r");
        return;
    }

    udp_recv(udp_pcb_handle, udp_receive_callback, NULL);
    printf("UDP ready, listening on port %d\n\r", LOCAL_PORT);
}
/*
 * this function gets a received buffer then:
 * 1. alters it to a test_command_t struct
 * 2. sends it to execution queue.
 *
 * */
void udp_receive_callback(void *arg, struct udp_pcb *pcb, struct pbuf *p, const ip_addr_t *addr, u16_t port)
{
    if (p != NULL) {
        // Copy the sender's IP address
        ip_addr_copy(g_server_addr, *addr);
        // Copy the sender's port
        g_server_port = port;

        if (p->len >= sizeof(test_command_t))
        {
            test_command_t *cmd = (test_command_t *)pvPortMalloc(sizeof(test_command_t));
            if (cmd != NULL)
            {
			   // Copy the data from the pbuf payload to the allocated memory
			   memcpy(cmd, p->payload, sizeof(test_command_t)); // Only copy the struct size

	            // Send the POINTER to the newly allocated and copied* data to the queue
	            if (xQueueSendToBack(testsQHandle, &cmd, 1) != pdPASS) // Pass address of pointer
	            {
	            	result_pro_t response={NULL, TEST_ERR};
	            	send_response(response);
	                vPortFree(cmd); // If send fails, free the allocated memory
	            } else {
	                // notify if successfully sent to queue
	                xTaskNotifyGive(performing_taskHandle);
	            }
            }
            else{
            	result_pro_t response={NULL, TEST_ERR};
            	send_response(response);
                printf("Failed to allocate memory for test_command_t!\n\r"); // Debug printf
            }
        } else {
        	result_pro_t response={NULL, TEST_ERR};
        	send_response(response);
        }
        pbuf_free(p);
    }
    else{
    	result_pro_t response={NULL, TEST_ERR};
    	send_response(response);
    }
}

int send_response(result_pro_t result)
{
    // Check if we have a valid sender address
    if (ip_addr_isany(&g_server_addr) == 0)
    {
        // Create a new pbuf for the response data
        struct pbuf* p = pbuf_alloc(PBUF_TRANSPORT, sizeof(result_pro_t), PBUF_RAM);
        if (p != NULL)
        {
            // Copy the result struct into the pbuf payload
            memcpy(p->payload, &result, sizeof(result_pro_t));

            // Send the response to the stored address and port
            if(udp_sendto(udp_pcb_handle, p, &g_server_addr, g_server_port) != ERR_OK)
            {
                pbuf_free(p);
            	return -1;
            }
            // Free the pbuf
            pbuf_free(p);
        }
        else{
        	return -1;
        }
    }
    else{
    	return -1;
    }
}

uint32_t calculate_crc(uint8_t *data, size_t length) {
    // HAL_CRC_Calculate expects 32-bit words, so convert length
    uint32_t word_count = (length + 3) / 4; // Round up
    return HAL_CRC_Calculate(&hcrc, (uint32_t *)data, word_count);
}

/* USER CODE END 4 */

void lwip_initiation(void *argument)
{
  /* init code for LWIP */
  MX_LWIP_Init();
  for(;;)
  {
    osDelay(1);
  }
}

void blinking_blue(void *argument)
{
  /* USER CODE BEGIN blinking_blue */
  /* Infinite loop */
  for(;;)
  {
	/* visual heartbeat */
	HAL_GPIO_TogglePin(GPIOB, GPIO_PIN_7);
    osDelay(1000);
  }
  /* USER CODE END blinking_blue */
}

/* USER CODE BEGIN Header_udp_function */
int __io_putchar(int ch)
{
    HAL_UART_Transmit(&huart3, (uint8_t*)&ch, 1, HAL_MAX_DELAY);
    return ch;
}
/**
* @brief Function implementing the udp_task thread.
* @param argument: Not used
* @retval None
*/
/* USER CODE END Header_udp_function */
void udp_function(void *argument)
{
  /* USER CODE BEGIN udp_function */
	udp_receive_init();
  /* Infinite loop */
  for(;;)
  {
    osDelay(1);
  }
  /* USER CODE END udp_function */
}

/* USER CODE BEGIN Header_perform_tests */
/**
* @brief Function implementing the performing_task thread:
* sorting the commands to its test (UART/SPI/etc.)
* @param argument: Not used (using queue instead)
* @retval None
*/
/* USER CODE END Header_perform_tests */
void perform_tests(void *argument)
{
  /* USER CODE BEGIN perform_tests */
	test_command_t *cmd;

  /* Infinite loop */
  for(;;)
  {
	ulTaskNotifyTake(pdTRUE, portMAX_DELAY); // waiting for a notification

	if (xQueueReceive(testsQHandle, &cmd, 0) != pdPASS)
	{
		printf("perform_tests: No test command received\n\r");
		continue;
	}
	result_pro_t response;

	if(cmd->bit_pattern_length > MAX_BIT_PATTERN_LENGTH || cmd->test_id == NULL || cmd->iterations < 1){
		response.test_result =TEST_ERR;
		send_response(response);
	}
	response.test_id = cmd->test_id;

	switch (cmd->peripheral){
	case TIMER:
		response.test_result = timer_testing(cmd);
		break;
	case UART:
		response.test_result = uart_testing(cmd);
		break;
	case SPI:
		response.test_result = spi_testing(cmd);
		break;
	case I2C:
		response.test_result = i2c_testing(cmd);
		break;
	case ADC_P:
		response.test_result = adc_testing(cmd);
		break;
	default:
		response.test_result = TEST_ERR;
        break;
	}
    vPortFree(cmd);
    osDelay(1);
    send_response(response);
  }
  /* USER CODE END perform_tests */
}

void HAL_TIM_PeriodElapsedCallback(TIM_HandleTypeDef *htim)
{
  if (htim->Instance == TIM6)
  {
    HAL_IncTick();
  }
  /* USER CODE BEGIN Callback 1 */
  if (htim->Instance == TIM7)
  {
	    BaseType_t xHigherPriorityTaskWoken = pdFALSE;

	    // Use the ISR-safe function to give the semaphore
	    xSemaphoreGiveFromISR(TimSemHandle, &xHigherPriorityTaskWoken);

	    // Call this if a higher priority task was unblocked
	    portYIELD_FROM_ISR(xHigherPriorityTaskWoken);
  }
  /* USER CODE END Callback 1 */
}

void Error_Handler(void)
{
  __disable_irq();
  while (1)
  {
  }
}
